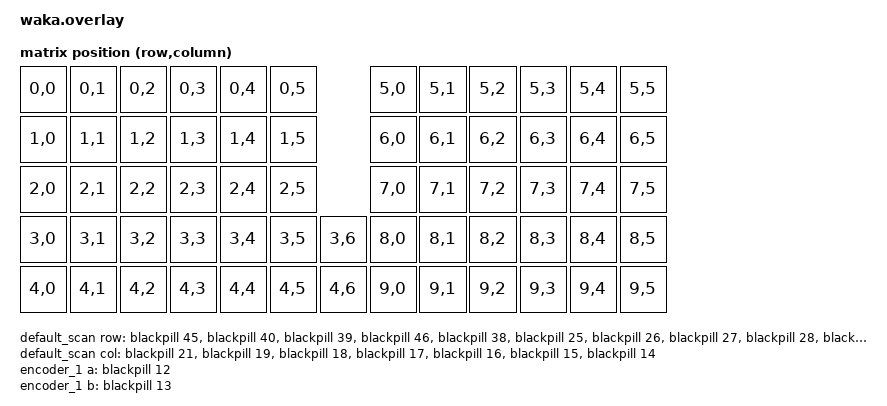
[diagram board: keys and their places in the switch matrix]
/*
 * Copyright (c) 2023 The ZMK Contributors
 *
 * SPDX-License-Identifier: MIT
 */

#include <dt-bindings/zmk/matrix_transform.h>

/ {
    chosen {
        zmk,kscan = &default_scan;
        zmk,matrix_transform = &default_transform;
    };

    default_scan: kscan {
        compatible = "zmk,kscan-gpio-matrix";
        label = "KSCAN";
        diode-direction = "col2row";
        row-gpios
            = <&blackpill 45 (GPIO_ACTIVE_HIGH | GPIO_PULL_DOWN)> /* B8 */
            , <&blackpill 40 (GPIO_ACTIVE_HIGH | GPIO_PULL_DOWN)> /* B4 */
            , <&blackpill 39 (GPIO_ACTIVE_HIGH | GPIO_PULL_DOWN)> /* B3 */
            , <&blackpill 46 (GPIO_ACTIVE_HIGH | GPIO_PULL_DOWN)> /* B9 */
            , <&blackpill 38 (GPIO_ACTIVE_HIGH | GPIO_PULL_DOWN)> /* A15 */
            , <&blackpill 25 (GPIO_ACTIVE_HIGH | GPIO_PULL_DOWN)> /* B12 */
            , <&blackpill 26 (GPIO_ACTIVE_HIGH | GPIO_PULL_DOWN)> /* B13 */
            , <&blackpill 27 (GPIO_ACTIVE_HIGH | GPIO_PULL_DOWN)> /* B14 */
            , <&blackpill 28 (GPIO_ACTIVE_HIGH | GPIO_PULL_DOWN)> /* B15 */
            , <&blackpill 29 (GPIO_ACTIVE_HIGH | GPIO_PULL_DOWN)> /* A8 */
            ;
        col-gpios
            = <&blackpill 21 GPIO_ACTIVE_HIGH> /* B10 */
            , <&blackpill 19 GPIO_ACTIVE_HIGH> /* B1 */
            , <&blackpill 18 GPIO_ACTIVE_HIGH> /* B0 */
            , <&blackpill 17 GPIO_ACTIVE_HIGH> /* A7 */
            , <&blackpill 16 GPIO_ACTIVE_HIGH> /* A6 */
            , <&blackpill 15 GPIO_ACTIVE_HIGH> /* A5 */
            , <&blackpill 14 GPIO_ACTIVE_HIGH> /* A4 */
            ;
    };

    default_transform: matrix_transform {
        compatible = "zmk,matrix-transform";
        columns = <10>;
        rows = <7>;
        map = <
            RC(0,0) RC(0,1) RC(0,2) RC(0,3) RC(0,4) RC(0,5)         RC(5,0) RC(5,1) RC(5,2) RC(5,3) RC(5,4) RC(5,5)
            RC(1,0) RC(1,1) RC(1,2) RC(1,3) RC(1,4) RC(1,5)         RC(6,0) RC(6,1) RC(6,2) RC(6,3) RC(6,4) RC(6,5)
            RC(2,0) RC(2,1) RC(2,2) RC(2,3) RC(2,4) RC(2,5)         RC(7,0) RC(7,1) RC(7,2) RC(7,3) RC(7,4) RC(7,5)
            RC(3,0) RC(3,1) RC(3,2) RC(3,3) RC(3,4) RC(3,5) RC(3,6) RC(8,0) RC(8,1) RC(8,2) RC(8,3) RC(8,4) RC(8,5)
            RC(4,0) RC(4,1) RC(4,2) RC(4,3) RC(4,4) RC(4,5) RC(4,6) RC(9,0) RC(9,1) RC(9,2) RC(9,3) RC(9,4) RC(9,5)
        >;
    };

    encoder_1: encoder_1 {
        compatible = "alps,ec11";
        label = "Encoder 1";
        a-gpios = <&blackpill 12 (GPIO_ACTIVE_LOW | GPIO_PULL_UP)>;
        b-gpios = <&blackpill 13 (GPIO_ACTIVE_LOW | GPIO_PULL_UP)>;
        resolution = <1>;
        status = "okay";
    };
};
